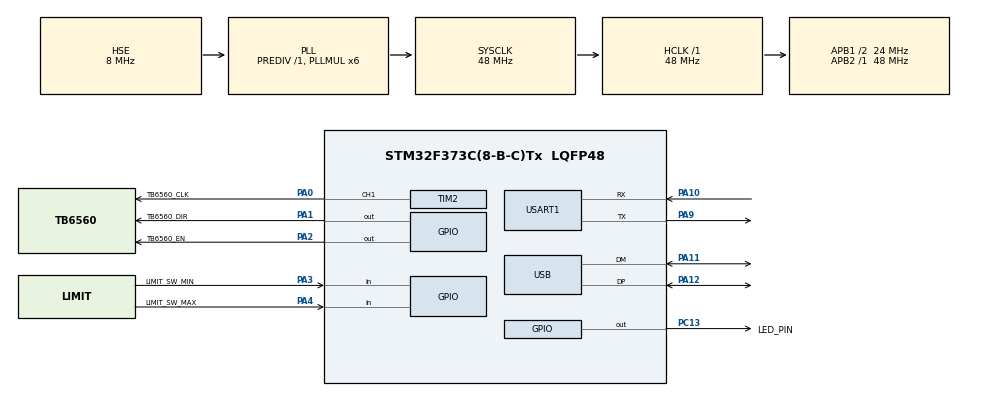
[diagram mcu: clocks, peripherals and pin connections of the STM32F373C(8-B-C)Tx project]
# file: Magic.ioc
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Mcu.Family=STM32F3
Mcu.Name=STM32F373C(8-B-C)Tx
Mcu.Package=LQFP48
NVIC.PriorityGroup=NVIC_PRIORITYGROUP_4
NVIC.TIM17_IRQn=true\:0\:0\:false\:false\:true\:true\:true\:true
NVIC.TIM2_IRQn=true\:0\:0\:false\:false\:true\:true\:true\:true
NVIC.USB_LP_IRQn=true\:0\:0\:false\:false\:true\:false\:true\:true
PA0.GPIO_Label=TB6560_CLK
PA0.Signal=S_TIM2_CH1_ETR
PA1.GPIO_Label=TB6560_DIR
PA1.Signal=GPIO_Output
PA10.Mode=Asynchronous
PA10.Signal=USART1_RX
PA11.Mode=Device
PA11.Signal=USB_DM
PA12.Mode=Device
PA12.Signal=USB_DP
PA2.GPIO_Label=TB6560_EN
PA2.Signal=GPIO_Output
PA3.GPIO_Label=LIMIT_SW_MIN
PA3.GPIO_PuPd=GPIO_PULLUP
PA3.Signal=GPIO_Input
PA4.GPIO_Label=LIMIT_SW_MAX
PA4.GPIO_PuPd=GPIO_PULLUP
PA4.Signal=GPIO_Input
PA9.Mode=Asynchronous
PA9.Signal=USART1_TX
PC13.GPIO_Label=LED_PIN
PC13.Signal=GPIO_Output
PF0-OSC_IN.Mode=HSE-External-Oscillator
PF0-OSC_IN.Signal=RCC_OSC_IN
PF1-OSC_OUT.Mode=HSE-External-Oscillator
PF1-OSC_OUT.Signal=RCC_OSC_OUT
ProjectManager.HeapSize=0x200
ProjectManager.StackSize=0x400
ProjectManager.TargetToolchain=STM32CubeIDE
RCC.AHBFreq_Value=48000000
RCC.APB1CLKDivider=RCC_HCLK_DIV2
RCC.APB1Freq_Value=24000000
RCC.APB1TimFreq_Value=48000000
RCC.APB2Freq_Value=48000000
RCC.APB2TimFreq_Value=48000000
RCC.CortexFreq_Value=48000000
RCC.HCLKFreq_Value=48000000
RCC.HSE_VALUE=8000000
RCC.HSI_VALUE=8000000
RCC.LSE_VALUE=32768
RCC.PLLMUL=RCC_PLL_MUL6
RCC.SYSCLKFreq_VALUE=48000000
RCC.SYSCLKSource=RCC_SYSCLKSOURCE_PLLCLK
RCC.USBFreq_Value=48000000
SH.S_TIM2_CH1_ETR.0=TIM2_CH1,PWM Generation1 CH1
TIM17.Channel=TIM_CHANNEL_1
TIM2.Channel-PWM\ Generation1\ CH1=TIM_CHANNEL_1
USART1.VirtualMode-Asynchronous=VM_ASYNC
USB_DEVICE.CLASS_NAME_FS=CDC
USB_DEVICE.VirtualMode=Cdc
USB_DEVICE.VirtualModeFS=Cdc_FS
VP_CRC_VS_CRC.Mode=CRC_Activate
VP_TIM17_VS_ClockSourceINT.Mode=Enable_Timer
VP_TIM17_VS_no_output1.Mode=Output Compare1 No Output
VP_USB_DEVICE_VS_USB_DEVICE_CDC_FS.Mode=CDC_FS
board=custom

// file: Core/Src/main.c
/* USER CODE BEGIN Header */
/**
  ******************************************************************************
  * @file           : main.c
  * @brief          : Main program body
  ******************************************************************************
  * @attention
  *
  * Copyright (c) 2026 STMicroelectronics.
  * All rights reserved.
  *
  * This software is licensed under terms that can be found in the LICENSE file
  * in the root directory of this software component.
  * If no LICENSE file comes with this software, it is provided AS-IS.
  *
  ******************************************************************************
  */
/* USER CODE END Header */
#include "main.h"
#include "usb_device.h"

/* USER CODE BEGIN Includes */
#include "receiver.h"
#include "app.h"
#include "eeprom.h"
#include "tb6560.h"
#include "limits.h"
#include "service.h"
/* USER CODE END Includes */

CRC_HandleTypeDef hcrc;

TIM_HandleTypeDef htim2;
TIM_HandleTypeDef htim17;

UART_HandleTypeDef huart1;

void SystemClock_Config(void);
static void MX_GPIO_Init(void);
static void MX_TIM17_Init(void);
static void MX_USART1_UART_Init(void);
static void MX_CRC_Init(void);
static void MX_TIM2_Init(void);

int main(void)
{

  /* USER CODE BEGIN 1 */
  app = dflt_app_params;
  /* USER CODE END 1 */

  /* MCU Configuration--------------------------------------------------------*/

  /* Reset of all peripherals, Initializes the Flash interface and the Systick. */
  HAL_Init();

  /* Configure the system clock */
  SystemClock_Config();

  /* Initialize all configured peripherals */
  MX_GPIO_Init();
  MX_TIM17_Init();
  MX_USART1_UART_Init();
  MX_USB_DEVICE_Init();
  MX_CRC_Init();
  MX_TIM2_Init();
  /* USER CODE BEGIN 2 */
  {
    app_settings_t s;
    if (eeprom_try_load(&s))
      app.settings = s;
  }
  tb6560_init(&htim2);
  tb6560_set_move_ramp(app.settings.ramp_step_interval, app.settings.ramp_hz_step,
                       app.settings.ramp_min_hz);
  limits_init();
  if (app.settings.status)
    service_calibrate_limits();
  /* USER CODE END 2 */

  /* Infinite loop */
  while (1)
  {

    /* USER CODE BEGIN 3 */

    app_process();
  }
  /* USER CODE END 3 */
}

void SystemClock_Config(void)
{
  RCC_OscInitTypeDef RCC_OscInitStruct = {0};
  RCC_ClkInitTypeDef RCC_ClkInitStruct = {0};
  RCC_PeriphCLKInitTypeDef PeriphClkInit = {0};

  /** Initializes the RCC Oscillators according to the specified parameters
  * in the RCC_OscInitTypeDef structure.
  */
  RCC_OscInitStruct.OscillatorType = RCC_OSCILLATORTYPE_HSE;
  RCC_OscInitStruct.HSEState = RCC_HSE_ON;
  RCC_OscInitStruct.HSEPredivValue = RCC_HSE_PREDIV_DIV1;
  RCC_OscInitStruct.HSIState = RCC_HSI_ON;
  RCC_OscInitStruct.PLL.PLLState = RCC_PLL_ON;
  RCC_OscInitStruct.PLL.PLLSource = RCC_PLLSOURCE_HSE;
  RCC_OscInitStruct.PLL.PLLMUL = RCC_PLL_MUL6;
  if (HAL_RCC_OscConfig(&RCC_OscInitStruct) != HAL_OK)
  {
    Error_Handler();
  }

  /** Initializes the CPU, AHB and APB buses clocks
  */
  RCC_ClkInitStruct.ClockType = RCC_CLOCKTYPE_HCLK|RCC_CLOCKTYPE_SYSCLK
                              |RCC_CLOCKTYPE_PCLK1|RCC_CLOCKTYPE_PCLK2;
  RCC_ClkInitStruct.SYSCLKSource = RCC_SYSCLKSOURCE_PLLCLK;
  RCC_ClkInitStruct.AHBCLKDivider = RCC_SYSCLK_DIV1;
  RCC_ClkInitStruct.APB1CLKDivider = RCC_HCLK_DIV2;
  RCC_ClkInitStruct.APB2CLKDivider = RCC_HCLK_DIV1;

  if (HAL_RCC_ClockConfig(&RCC_ClkInitStruct, FLASH_LATENCY_1) != HAL_OK)
  {
    Error_Handler();
  }
  PeriphClkInit.PeriphClockSelection = RCC_PERIPHCLK_USB|RCC_PERIPHCLK_USART1;
  PeriphClkInit.Usart1ClockSelection = RCC_USART1CLKSOURCE_PCLK2;
  PeriphClkInit.USBClockSelection = RCC_USBCLKSOURCE_PLL;
  if (HAL_RCCEx_PeriphCLKConfig(&PeriphClkInit) != HAL_OK)
  {
    Error_Handler();
  }
}

static void MX_CRC_Init(void)
{

  hcrc.Instance = CRC;
  hcrc.Init.DefaultPolynomialUse = DEFAULT_POLYNOMIAL_ENABLE;
  hcrc.Init.DefaultInitValueUse = DEFAULT_INIT_VALUE_ENABLE;
  hcrc.Init.InputDataInversionMode = CRC_INPUTDATA_INVERSION_NONE;
  hcrc.Init.OutputDataInversionMode = CRC_OUTPUTDATA_INVERSION_DISABLE;
  hcrc.InputDataFormat = CRC_INPUTDATA_FORMAT_BYTES;
  if (HAL_CRC_Init(&hcrc) != HAL_OK)
  {
    Error_Handler();
  }

}

static void MX_TIM2_Init(void)
{

  TIM_MasterConfigTypeDef sMasterConfig = {0};
  TIM_OC_InitTypeDef sConfigOC = {0};

  htim2.Instance = TIM2;
  htim2.Init.Prescaler = 0;
  htim2.Init.CounterMode = TIM_COUNTERMODE_UP;
  htim2.Init.Period = 4294967295;
  htim2.Init.ClockDivision = TIM_CLOCKDIVISION_DIV1;
  htim2.Init.AutoReloadPreload = TIM_AUTORELOAD_PRELOAD_DISABLE;
  if (HAL_TIM_PWM_Init(&htim2) != HAL_OK)
  {
    Error_Handler();
  }
  sMasterConfig.MasterOutputTrigger = TIM_TRGO_RESET;
  sMasterConfig.MasterSlaveMode = TIM_MASTERSLAVEMODE_DISABLE;
  if (HAL_TIMEx_MasterConfigSynchronization(&htim2, &sMasterConfig) != HAL_OK)
  {
    Error_Handler();
  }
  sConfigOC.OCMode = TIM_OCMODE_PWM1;
  sConfigOC.Pulse = 0;
  sConfigOC.OCPolarity = TIM_OCPOLARITY_HIGH;
  sConfigOC.OCFastMode = TIM_OCFAST_DISABLE;
  if (HAL_TIM_PWM_ConfigChannel(&htim2, &sConfigOC, TIM_CHANNEL_1) != HAL_OK)
  {
    Error_Handler();
  }
  HAL_TIM_MspPostInit(&htim2);

}

static void MX_TIM17_Init(void)
{

  TIM_OC_InitTypeDef sConfigOC = {0};
  TIM_BreakDeadTimeConfigTypeDef sBreakDeadTimeConfig = {0};

  htim17.Instance = TIM17;
  htim17.Init.Prescaler = 0;
  htim17.Init.CounterMode = TIM_COUNTERMODE_UP;
  htim17.Init.Period = 65535;
  htim17.Init.ClockDivision = TIM_CLOCKDIVISION_DIV1;
  htim17.Init.RepetitionCounter = 0;
  htim17.Init.AutoReloadPreload = TIM_AUTORELOAD_PRELOAD_DISABLE;
  if (HAL_TIM_Base_Init(&htim17) != HAL_OK)
  {
    Error_Handler();
  }
  if (HAL_TIM_OC_Init(&htim17) != HAL_OK)
  {
    Error_Handler();
  }
  sConfigOC.OCMode = TIM_OCMODE_TIMING;
  sConfigOC.Pulse = 0;
  sConfigOC.OCPolarity = TIM_OCPOLARITY_HIGH;
  sConfigOC.OCNPolarity = TIM_OCNPOLARITY_HIGH;
  sConfigOC.OCFastMode = TIM_OCFAST_DISABLE;
  sConfigOC.OCIdleState = TIM_OCIDLESTATE_RESET;
  sConfigOC.OCNIdleState = TIM_OCNIDLESTATE_RESET;
  if (HAL_TIM_OC_ConfigChannel(&htim17, &sConfigOC, TIM_CHANNEL_1) != HAL_OK)
  {
    Error_Handler();
  }
  sBreakDeadTimeConfig.OffStateRunMode = TIM_OSSR_DISABLE;
  sBreakDeadTimeConfig.OffStateIDLEMode = TIM_OSSI_DISABLE;
  sBreakDeadTimeConfig.LockLevel = TIM_LOCKLEVEL_OFF;
  sBreakDeadTimeConfig.DeadTime = 0;
  sBreakDeadTimeConfig.BreakState = TIM_BREAK_DISABLE;
  sBreakDeadTimeConfig.BreakPolarity = TIM_BREAKPOLARITY_HIGH;
  sBreakDeadTimeConfig.AutomaticOutput = TIM_AUTOMATICOUTPUT_DISABLE;
  if (HAL_TIMEx_ConfigBreakDeadTime(&htim17, &sBreakDeadTimeConfig) != HAL_OK)
  {
    Error_Handler();
  }

}

static void MX_USART1_UART_Init(void)
{

  huart1.Instance = USART1;
  huart1.Init.BaudRate = 38400;
  huart1.Init.WordLength = UART_WORDLENGTH_8B;
  huart1.Init.StopBits = UART_STOPBITS_1;
  huart1.Init.Parity = UART_PARITY_NONE;
  huart1.Init.Mode = UART_MODE_TX_RX;
  huart1.Init.HwFlowCtl = UART_HWCONTROL_NONE;
  huart1.Init.OverSampling = UART_OVERSAMPLING_16;
  huart1.Init.OneBitSampling = UART_ONE_BIT_SAMPLE_DISABLE;
  huart1.AdvancedInit.AdvFeatureInit = UART_ADVFEATURE_NO_INIT;
  if (HAL_UART_Init(&huart1) != HAL_OK)
  {
    Error_Handler();
  }

}

static void MX_GPIO_Init(void)
{
  GPIO_InitTypeDef GPIO_InitStruct = {0};

  /* GPIO Ports Clock Enable */
  __HAL_RCC_GPIOC_CLK_ENABLE();
  __HAL_RCC_GPIOF_CLK_ENABLE();
  __HAL_RCC_GPIOA_CLK_ENABLE();

  /*Configure GPIO pin Output Level */
  HAL_GPIO_WritePin(LED_PIN_GPIO_Port, LED_PIN_Pin, GPIO_PIN_RESET);

  /*Configure GPIO pin Output Level */
  HAL_GPIO_WritePin(GPIOA, TB6560_DIR_Pin|TB6560_EN_Pin, GPIO_PIN_RESET);

  /*Configure GPIO pin : LED_PIN_Pin */
  GPIO_InitStruct.Pin = LED_PIN_Pin;
  GPIO_InitStruct.Mode = GPIO_MODE_OUTPUT_PP;
  GPIO_InitStruct.Pull = GPIO_NOPULL;
  GPIO_InitStruct.Speed = GPIO_SPEED_FREQ_LOW;
  HAL_GPIO_Init(LED_PIN_GPIO_Port, &GPIO_InitStruct);

  /*Configure GPIO pins : TB6560_DIR_Pin TB6560_EN_Pin */
  GPIO_InitStruct.Pin = TB6560_DIR_Pin|TB6560_EN_Pin;
  GPIO_InitStruct.Mode = GPIO_MODE_OUTPUT_PP;
  GPIO_InitStruct.Pull = GPIO_NOPULL;
  GPIO_InitStruct.Speed = GPIO_SPEED_FREQ_LOW;
  HAL_GPIO_Init(GPIOA, &GPIO_InitStruct);

  /*Configure GPIO pins : LIMIT_SW_MIN_Pin LIMIT_SW_MAX_Pin */
  GPIO_InitStruct.Pin = LIMIT_SW_MIN_Pin|LIMIT_SW_MAX_Pin;
  GPIO_InitStruct.Mode = GPIO_MODE_INPUT;
  GPIO_InitStruct.Pull = GPIO_PULLUP;
  HAL_GPIO_Init(GPIOA, &GPIO_InitStruct);

}

void Error_Handler(void)
{
  __disable_irq();
  while (1)
  {
  }
}
